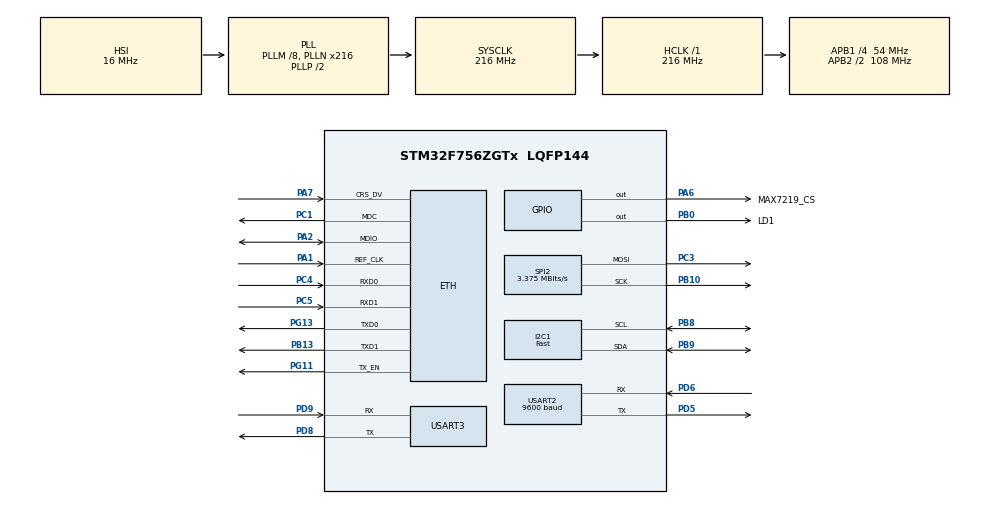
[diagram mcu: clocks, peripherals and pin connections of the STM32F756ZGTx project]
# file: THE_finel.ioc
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Dma.Request0=USART2_RX
Dma.USART2_RX.0.Direction=DMA_PERIPH_TO_MEMORY
Dma.USART2_RX.0.FIFOMode=DMA_FIFOMODE_DISABLE
Dma.USART2_RX.0.Instance=DMA1_Stream5
Dma.USART2_RX.0.MemDataAlignment=DMA_MDATAALIGN_BYTE
Dma.USART2_RX.0.MemInc=DMA_MINC_ENABLE
Dma.USART2_RX.0.Mode=DMA_CIRCULAR
Dma.USART2_RX.0.PeriphDataAlignment=DMA_PDATAALIGN_BYTE
Dma.USART2_RX.0.PeriphInc=DMA_PINC_DISABLE
Dma.USART2_RX.0.Priority=DMA_PRIORITY_LOW
ETH.MediaInterface=HAL_ETH_RMII_MODE
FREERTOS.Tasks01=defaultTask,0,256,StartDefaultTask,Default,NULL,Dynamic,NULL,NULL
FREERTOS.configGENERATE_RUN_TIME_STATS=1
FREERTOS.configUSE_NEWLIB_REENTRANT=1
FREERTOS.configUSE_TRACE_FACILITY=1
I2C1.I2C_Speed_Mode=I2C_Fast
I2C1.Timing=0x6000030D
LWIP.BSP.number=1
LWIP.GATEWAY_ADDRESS=172.020.010.001
LWIP.IP_ADDRESS=192.168.001.050
LWIP.LWIP_DHCP=0
LWIP.MEM_SIZE=10240
LWIP.NETMASK_ADDRESS=255.255.255.000
LWIP.PBUF_POOL_BUFSIZE=1524
LWIP.Version=v2.1.2_Cube
LWIP0.BSP.STBoard=false
LWIP0.BSP.api=BSP_COMPONENT_DRIVER
LWIP0.BSP.component=LAN8742
LWIP0.BSP.instance=LAN8742
LWIP0.BSP.name=Driver_PHY
LWIP0.BSP.semaphore=S_LAN8742
LWIP0.BSP.solution=LAN8742
Mcu.Family=STM32F7
Mcu.Name=STM32F756ZGTx
Mcu.Package=LQFP144
NVIC.DMA1_Stream5_IRQn=true\:5\:0\:false\:false\:true\:true\:false\:true\:true
NVIC.PriorityGroup=NVIC_PRIORITYGROUP_4
NVIC.TIM6_DAC_IRQn=true\:15\:0\:false\:false\:true\:false\:false\:true\:true
NVIC.TimeBase=TIM6_DAC_IRQn
NVIC.TimeBaseIP=TIM6
NVIC.USART2_IRQn=true\:5\:0\:false\:false\:true\:true\:true\:true\:true
PA1.Mode=RMII
PA1.Signal=ETH_REF_CLK
PA13.Mode=Serial_Wire
PA13.Signal=SYS_JTMS-SWDIO
PA14.Mode=Serial_Wire
PA14.Signal=SYS_JTCK-SWCLK
PA2.Mode=RMII
PA2.Signal=ETH_MDIO
PA6.GPIO_Label=MAX7219_CS
PA6.Signal=GPIO_Output
PA7.Mode=RMII
PA7.Signal=ETH_CRS_DV
PB0.GPIO_Label=LD1
PB0.Signal=GPIO_Output
PB10.Mode=TX_Only_Simplex_Unidirect_Master
PB10.Signal=SPI2_SCK
PB13.Mode=RMII
PB13.Signal=ETH_TXD1
PB8.Mode=I2C
PB8.Signal=I2C1_SCL
PB9.Mode=I2C
PB9.Signal=I2C1_SDA
PC1.Mode=RMII
PC1.Signal=ETH_MDC
PC3.Mode=TX_Only_Simplex_Unidirect_Master
PC3.Signal=SPI2_MOSI
PC4.Mode=RMII
PC4.Signal=ETH_RXD0
PC5.Mode=RMII
PC5.Signal=ETH_RXD1
PD5.Mode=Asynchronous
PD5.Signal=USART2_TX
PD6.Mode=Asynchronous
PD6.Signal=USART2_RX
PD8.Mode=Asynchronous
PD8.Signal=USART3_TX
PD9.Mode=Asynchronous
PD9.Signal=USART3_RX
PG11.Mode=RMII
PG11.Signal=ETH_TX_EN
PG13.Mode=RMII
PG13.Signal=ETH_TXD0
ProjectManager.HeapSize=0x200
ProjectManager.StackSize=0x400
ProjectManager.TargetToolchain=STM32CubeIDE
RCC.AHBFreq_Value=216000000
RCC.APB1CLKDivider=RCC_HCLK_DIV4
RCC.APB1Freq_Value=54000000
RCC.APB1TimFreq_Value=108000000
RCC.APB2CLKDivider=RCC_HCLK_DIV2
RCC.APB2Freq_Value=108000000
RCC.APB2TimFreq_Value=216000000
RCC.CortexFreq_Value=216000000
RCC.HCLKFreq_Value=216000000
RCC.HSE_VALUE=25000000
RCC.HSI_VALUE=16000000
RCC.LSE_VALUE=32768
RCC.PLLM=8
RCC.PLLN=216
RCC.SYSCLKFreq_VALUE=216000000
RCC.SYSCLKSource=RCC_SYSCLKSOURCE_PLLCLK
RCC.USBFreq_Value=216000000
RCC.VCOOutputFreq_Value=432000000
SPI2.BaudRatePrescaler=SPI_BAUDRATEPRESCALER_16
SPI2.CalculateBaudRate=3.375 MBits/s
SPI2.DataSize=SPI_DATASIZE_8BIT
SPI2.Direction=SPI_DIRECTION_2LINES
SPI2.Mode=SPI_MODE_MASTER
SPI2.VirtualType=VM_MASTER
USART2.BaudRate=9600
USART2.VirtualMode-Asynchronous=VM_ASYNC
USART3.VirtualMode-Asynchronous=VM_ASYNC
VP_FREERTOS_VS_CMSIS_V1.Mode=CMSIS_V1
VP_LWIP_VS_Enabled.Mode=Enabled
VP_SYS_VS_tim6.Mode=TIM6
board=custom

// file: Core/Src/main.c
/* USER CODE BEGIN Header */
/**
  ******************************************************************************
  * @file           : main.c
  * @brief          : Main program body
  ******************************************************************************
  */
/* USER CODE END Header */
#include "main.h"
#include "cmsis_os.h"
#include "dma.h"
#include "i2c.h"
#include "lwip.h"
#include "spi.h"
#include "usart.h"
#include "gpio.h"

/* USER CODE BEGIN Includes */
#include "IMU.h"
#include "GPS.h"
#include <stdio.h>
#include <string.h>
#include "ETH_Telemetry.h"
extern SPI_HandleTypeDef hspi2;
extern I2C_HandleTypeDef hi2c1;
extern UART_HandleTypeDef huart2;
extern UART_HandleTypeDef huart3;
extern DMA_HandleTypeDef hdma_usart2_rx;
/* USER CODE END Includes */

/* USER CODE BEGIN PV */
/* Old bare-metal GPS variables.
 * They are NOT used anymore (GPS now lives in gpsTask in freertos.c).
 * Kept only in case GPS.c refers to them with 'extern'.
 * If you delete them and the project still links - good, they are gone. */
uint8_t rx_byte[NMEA_BUF_SIZE + 1];
char nmea_work_buffer[NMEA_BUF_SIZE];
volatile uint8_t line_ready = 0;
/* USER CODE END PV */

void SystemClock_Config(void);
void MX_FREERTOS_Init(void);

/* USER CODE BEGIN 0 */

/* printf -> USART3 (ST-LINK virtual COM port) */
int _write(int file, char *ptr, int len)
{
    (void)file;
    HAL_UART_Transmit(&huart3, (uint8_t *)ptr, (uint16_t)len, HAL_MAX_DELAY);
    return len;
}

/* USER CODE END 0 */

int main(void)
{

  /* USER CODE BEGIN 1 */
  /* NOTHING here: UART is not initialized yet, printf here prints nowhere */
  /* USER CODE END 1 */

  /* MCU Configuration--------------------------------------------------------*/

  /* Reset of all peripherals, Initializes the Flash interface and the Systick. */
  HAL_Init();

  /* Configure the system clock */
  SystemClock_Config();

  /* Initialize all configured peripherals */
  MX_GPIO_Init();
  MX_DMA_Init();
  MX_I2C1_Init();
  MX_USART3_UART_Init();
  MX_SPI2_Init();
  MX_USART2_UART_Init();
  /* USER CODE BEGIN 2 */
  setvbuf(stdout, NULL, _IONBF, 0);          /* no buffering: every printf goes out at once */

  HAL_GPIO_WritePin(GPIOB, GPIO_PIN_0, GPIO_PIN_SET);   /* LD1 on = we reached here */
  printf("\r\n\r\n===== BOOT =====\r\n");

  /* Hardware init only - things that do NOT need the RTOS or lwIP */
  printf("[main] MPU6050_Init...\r\n");
  MPU6050_Init();

  printf("[main] MAX7219_Init...\r\n");
  MAX7219_Init();

  printf("[main] IMU_CalibrateZero...\r\n");
  IMU_CalibrateZero();

  /* REMOVED from here (they now run inside freertos.c):
   *  - ETH_Telemetry_Init()  -> needs lwIP, which starts only inside defaultTask
   *                             (MX_LWIP_Init). Calling it here = crash.
   *  - HAL_UARTEx_ReceiveToIdle_DMA(&huart2, ...) -> gpsTask starts the DMA itself.
   *    Starting it here makes the GPS ISR send to a queue that does not exist yet
   *    -> configASSERT -> the whole system freezes.                               */

  printf("[main] starting FreeRTOS...\r\n");
  /* USER CODE END 2 */

  /* Call init function for freertos objects (in cmsis_os2.c) */
  MX_FREERTOS_Init();

  /* Start scheduler */
  osKernelStart();

  /* We should never get here as control is now taken by the scheduler */

  /* Infinite loop */
  /* USER CODE BEGIN WHILE */
  while (1)
  {
    /* never reached - all the work is in the tasks in freertos.c */
  }
    /* USER CODE END WHILE */

}

void SystemClock_Config(void)
{
  RCC_OscInitTypeDef RCC_OscInitStruct = {0};
  RCC_ClkInitTypeDef RCC_ClkInitStruct = {0};

  /** Configure the main internal regulator output voltage
  */
  __HAL_RCC_PWR_CLK_ENABLE();
  __HAL_PWR_VOLTAGESCALING_CONFIG(PWR_REGULATOR_VOLTAGE_SCALE1);

  /** Initializes the RCC Oscillators according to the specified parameters
  * in the RCC_OscInitTypeDef structure.
  */
  RCC_OscInitStruct.OscillatorType = RCC_OSCILLATORTYPE_HSI;
  RCC_OscInitStruct.HSIState = RCC_HSI_ON;
  RCC_OscInitStruct.HSICalibrationValue = RCC_HSICALIBRATION_DEFAULT;
  RCC_OscInitStruct.PLL.PLLState = RCC_PLL_ON;
  RCC_OscInitStruct.PLL.PLLSource = RCC_PLLSOURCE_HSI;
  RCC_OscInitStruct.PLL.PLLM = 8;
  RCC_OscInitStruct.PLL.PLLN = 216;
  RCC_OscInitStruct.PLL.PLLP = RCC_PLLP_DIV2;
  RCC_OscInitStruct.PLL.PLLQ = 2;
  if (HAL_RCC_OscConfig(&RCC_OscInitStruct) != HAL_OK)
  {
    Error_Handler();
  }

  /** Activate the Over-Drive mode
  */
  if (HAL_PWREx_EnableOverDrive() != HAL_OK)
  {
    Error_Handler();
  }

  /** Initializes the CPU, AHB and APB buses clocks
  */
  RCC_ClkInitStruct.ClockType = RCC_CLOCKTYPE_HCLK|RCC_CLOCKTYPE_SYSCLK
                              |RCC_CLOCKTYPE_PCLK1|RCC_CLOCKTYPE_PCLK2;
  RCC_ClkInitStruct.SYSCLKSource = RCC_SYSCLKSOURCE_PLLCLK;
  RCC_ClkInitStruct.AHBCLKDivider = RCC_SYSCLK_DIV1;
  RCC_ClkInitStruct.APB1CLKDivider = RCC_HCLK_DIV4;
  RCC_ClkInitStruct.APB2CLKDivider = RCC_HCLK_DIV2;

  if (HAL_RCC_ClockConfig(&RCC_ClkInitStruct, FLASH_LATENCY_7) != HAL_OK)
  {
    Error_Handler();
  }
}

void HAL_TIM_PeriodElapsedCallback(TIM_HandleTypeDef *htim)
{
  if (htim->Instance == TIM6)
  {
    HAL_IncTick();
  }
}

void Error_Handler(void)
{
  /* USER CODE BEGIN Error_Handler_Debug */
  /* Tell us we got here (polling transmit works even with IRQs off) */
  printf("\r\n!!! Error_Handler !!!\r\n");
  __disable_irq();
  while (1)
  {
    /* LD1 blinks fast = we are stuck in Error_Handler */
    HAL_GPIO_TogglePin(GPIOB, GPIO_PIN_0);
    for (volatile uint32_t i = 0; i < 2000000; i++) { }
  }
  /* USER CODE END Error_Handler_Debug */
}
#ifdef USE_FULL_ASSERT
/**
  * @brief  Reports the name of the source file and the source line number
  *         where the assert_param error has occurred.
  * @param  file: pointer to the source file name
  * @param  line: assert_param error line source number
  * @retval None
  */
void assert_failed(uint8_t *file, uint32_t line)
{
  /* USER CODE BEGIN 6 */
  printf("assert_failed: %s line %lu\r\n", (char *)file, (unsigned long)line);
  /* USER CODE END 6 */
}
#endif /* USE_FULL_ASSERT */

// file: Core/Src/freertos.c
/* USER CODE BEGIN Header */
/**
  ******************************************************************************
  * File Name          : freertos.c
  * Description        : Code for freertos applications
  ******************************************************************************
  * @attention
  *
  * Copyright (c) 2026 STMicroelectronics.
  * All rights reserved.
  *
  * This software is licensed under terms that can be found in the LICENSE file
  * in the root directory of this software component.
  * If no LICENSE file comes with this software, it is provided AS-IS.
  *
  ******************************************************************************
  *
  *  Uses modules:
  *    IMU.c           MPU6050_Read_All(), imu_data, imu_zero,
  *                    MAX7219_DrawPattern(), ARROW_N/NE/.../SMILEY_FACE
  *    GPS.c           Parse_GPS_Sentence(), g_gps_data
  *    ETH_Telemetry.c ETH_Telemetry_Init(), ETH_Telemetry_Send(), ETH_Retry_Task()
  *
  *  Tasks (each hardware bus has exactly ONE owner):
  *
  *   imuTask    (10 ms)  owns I2C1: MPU6050_Read_All -> tilt from HOME -> [imu_mailbox]
  *   matrixTask (50 ms)  owns SPI2: [imu_mailbox] -> arrow -> MAX7219_DrawPattern
  *   gpsTask             USART2 DMA ISR -> [gps_chunk_queue] -> Parse_GPS_Sentence -> [gps_mailbox]
  *   defaultTask         lwIP; telemetry send (1 s) + retry (200 ms) run in the lwIP thread
  *   ethRxTask           [eth_rx_queue] -> prints every received UDP packet (hex + bits)
  *
  *  Other code that wants the I2C or the matrix (e.g. ETH commands) does NOT touch
  *  the hardware - it sends a request: App_RequestImuZero(), App_ShowPattern().
  *
  ******************************************************************************
  */
/* USER CODE END Header */

#include "FreeRTOS.h"
#include "task.h"
#include "main.h"
#include "cmsis_os.h"

/* USER CODE BEGIN Includes */
#include <stdio.h>
#include <stdarg.h>
#include <string.h>
#include <math.h>
#include "queue.h"
#include "semphr.h"
#include "usart.h"
#include "i2c.h"
#include "lwip/tcpip.h"
#include "lwip/netif.h"
#include "lwip/ip_addr.h"
#include "IMU.h"
#include "GPS.h"
#include "ETH_Telemetry.h"
/* USER CODE END Includes */

/* USER CODE BEGIN PTD */

/* ================= settings you may want to change ================= */

/* Arrow: shown when the device is tilted this much from HOME */
#define IMU_ARROW_DEG          5.0f   /* tilt >= 5 deg -> arrow */
#define IMU_HOME_DEG           4.0f   /* back under 4 deg -> smiley (1 deg hysteresis) */
#define IMU_FILTER             0.25f  /* low-pass: 0.25 = smooth, 1.0 = no filter */
#define IMU_HOME_SAMPLES       50U    /* 50 samples averaged when saving HOME */
#define IMU_SETTLE_MS          300U   /* wait before saving HOME (hands off) */

/* If the arrow points the wrong way, flip these (0/1) */
#define IMU_SWAP_XY            0
#define IMU_INVERT_X           0
#define IMU_INVERT_Y           0

/* periods */
#define IMU_PERIOD_MS          10U //Period sample
#define MATRIX_PERIOD_MS       50U // Period sample for fluent switch
#define NET_PERIOD_MS          200U   /* ETH_Retry_Task */
#define TELEMETRY_PERIOD_MS    1000U  /* ETH_Telemetry_Send */
#define IMU_PRINT_MS           500U
#define GPS_SILENCE_MS         3000U // SILENCE GPS to not fill the terminal
#define GPS_PRINT_RAW_NMEA     0      /* 1 = print every raw NMEA line */
#define PATTERN_OVERRIDE_MS    3000U  /* ETH command 3 shows its pattern this long */

/* Ethernet RX printing */
#define ETH_RX_MAX_BYTES       64U // max byte of the packet
#define ETH_RX_PRINT_MAX       32U// number of packet that is printed

/* GPS */
#define GPS_DMA_BUF_SIZE       128U   // multiple of 32
#define GPS_CHUNK_QUEUE_LEN    4U // if TASK GPS is busy  there is 4 parts waiting
#define NMEA_LINE_MAX          96U // NMEA length

/* Nucleo-144 LEDs */
#define LED_MATRIX_PIN         GPIO_PIN_0    /* green: matrixTask alive */
#define LED_IMU_PIN            GPIO_PIN_7    /* blue:  imuTask alive    */
#define LED_ERROR_PIN          GPIO_PIN_14   /* red:   I2C error        */

#define RAD2DEG                57.29577951f
#define DEG2RAD                0.01745329f

/* ================= data passed between tasks ================= */

typedef struct {
  float    ax, ay, az;      /* accel in g (from imu_data) */
  float    gx, gy, gz;      /* gyro in deg/s */
  float    du, dv;          /* distance from HOME on the two tilt axes (g) */
  uint8_t  axis_u, axis_v;  /* which axes (0=X 1=Y 2=Z) */
  uint8_t  ok;              /* 0 = I2C error */
  uint8_t  has_home;
  uint32_t tick;
} ImuSample_t;

typedef struct {
  uint16_t len;
  uint8_t  data[GPS_DMA_BUF_SIZE];
} GpsChunk_t;

typedef struct {
  uint32_t ip;
  uint16_t port;
  uint16_t len;
  uint16_t total_len;
  uint8_t  data[ETH_RX_MAX_BYTES];
} EthRxMsg_t;

typedef enum {
  DIR_HOME = 0,
  DIR_N, DIR_S, DIR_E, DIR_W,
  DIR_NE, DIR_NW, DIR_SE, DIR_SW,
  DIR_WAIT,
  DIR_ERROR,
  DIR_COUNT
} ArrowDir_t;

/* USER CODE END PTD */

/* USER CODE BEGIN Variables */

/* from modules (declared here too, in case the headers don't export them) */
extern MPU6050_t      imu_data;
extern IMU_ZeroState  imu_zero;
extern GPS_GGA_Data   g_gps_data;
extern const uint8_t  SMILEY_FACE[8];
extern const uint8_t  ARROW_N[8], ARROW_S[8], ARROW_E[8], ARROW_W[8];
extern const uint8_t  ARROW_NE[8], ARROW_NW[8], ARROW_SE[8], ARROW_SW[8];

extern struct netif gnetif;              /* lwip.c */

static QueueHandle_t     imu_mailbox;     /* length 1: latest IMU sample   */
static QueueHandle_t     gps_mailbox;     /* length 1: latest GPS_GGA_Data */
static QueueHandle_t     gps_chunk_queue; /* raw bytes from the UART ISR   */
static QueueHandle_t     eth_rx_queue;    /* UDP packets -> ethRxTask      */
static SemaphoreHandle_t print_mutex;

static uint8_t gps_dma_buf[GPS_DMA_BUF_SIZE] __attribute__((aligned(32)));

static volatile ArrowDir_t current_dir     = DIR_WAIT; // can change during running state
static volatile uint8_t    imu_zero_req    = 0;     /* set by App_RequestImuZero() */
static volatile int16_t    override_id     = -1;    /* set by App_ShowPattern()   */
static volatile TickType_t override_until  = 0;
static volatile uint32_t   eth_rx_count    = 0;
static volatile uint32_t   gps_lines       = 0;

/* extra pictures (not in IMU.c) */
static const uint8_t PIC_WAIT[8]  = {0x00, 0x00, 0x00, 0x18, 0x18, 0x00, 0x00, 0x00};
static const uint8_t PIC_ERROR[8] = {0x81, 0x42, 0x24, 0x18, 0x18, 0x24, 0x42, 0x81};

static const uint8_t *pics[DIR_COUNT];   /* filled in StartMatrixTask */

static const char *const DIR_NAME[DIR_COUNT] = {
  "HOME", "N", "S", "E", "W", "NE", "NW", "SE", "SW", "WAIT", "I2C-ERR"
};
// create threads
osThreadId gpsTaskHandle;
osThreadId imuTaskHandle;
osThreadId matrixTaskHandle;
osThreadId ethRxTaskHandle;

/* USER CODE END Variables */
osThreadId defaultTaskHandle;

/* USER CODE BEGIN FunctionPrototypes */

void StartGpsTask(void const * argument);
void StartImuTask(void const * argument);
void StartMatrixTask(void const * argument);
void StartEthRxTask(void const * argument);

void MPU6050_Read_All(void);
void MAX7219_DrawPattern(const uint8_t pattern[8]);
void Parse_GPS_Sentence(char *sentence);

/* public helpers - used by ETH_Telemetry.c */
void App_Log(const char *fmt, ...);
void App_EthRxPrint(const uint8_t *data, uint16_t len, const ip_addr_t *addr, u16_t port);
void App_RequestImuZero(void);
void App_ShowPattern(uint8_t pattern_id);

static void log_lock(void);
static void log_unlock(void);
static void log_raw(const char *fmt, ...);
static const char *f2s(char *buf, size_t n, double v, uint8_t decimals);
static void ip_to_str(uint32_t ip, char *out, size_t size);

static void gps_start_dma(void);
static void gps_print(const GPS_GGA_Data *g);

static uint8_t imu_read(float a[3]);
static uint8_t imu_save_home(void);
static void imu_pick_axes(uint8_t *u, uint8_t *v);
static uint8_t button_pressed(void);
static void leds_init(void);
static ArrowDir_t imu_to_dir(const ImuSample_t *s, ArrowDir_t prev);

static void eth_init_cb(void *ctx);
static void eth_send_cb(void *ctx);
static void eth_retry_cb(void *ctx);

/* USER CODE END FunctionPrototypes */

void StartDefaultTask(void const * argument);

extern void MX_LWIP_Init(void);
void MX_FREERTOS_Init(void); /* (MISRA C 2004 rule 8.1) */

/* GetIdleTaskMemory prototype (linked to static allocation support) */
void vApplicationGetIdleTaskMemory( StaticTask_t **ppxIdleTaskTCBBuffer, StackType_t **ppxIdleTaskStackBuffer, uint32_t *pulIdleTaskStackSize );

/* Hook prototypes */
void configureTimerForRunTimeStats(void);
unsigned long getRunTimeCounterValue(void);

/* USER CODE BEGIN 1 */
/* Functions needed when configGENERATE_RUN_TIME_STATS is on */
__weak void configureTimerForRunTimeStats(void)
{

}

__weak unsigned long getRunTimeCounterValue(void)
{
return 0;
}
/* USER CODE END 1 */

/* USER CODE BEGIN GET_IDLE_TASK_MEMORY */
static StaticTask_t xIdleTaskTCBBuffer;
static StackType_t xIdleStack[configMINIMAL_STACK_SIZE];

void vApplicationGetIdleTaskMemory( StaticTask_t **ppxIdleTaskTCBBuffer, StackType_t **ppxIdleTaskStackBuffer, uint32_t *pulIdleTaskStackSize )
{
  *ppxIdleTaskTCBBuffer = &xIdleTaskTCBBuffer;
  *ppxIdleTaskStackBuffer = &xIdleStack[0];
  *pulIdleTaskStackSize = configMINIMAL_STACK_SIZE;
  /* place for user code */
}
/* USER CODE END GET_IDLE_TASK_MEMORY */

void MX_FREERTOS_Init(void) {

  /* USER CODE BEGIN RTOS_MUTEX */
  print_mutex = xSemaphoreCreateMutex();
  configASSERT(print_mutex != NULL);
  /* USER CODE END RTOS_MUTEX */

  /* USER CODE BEGIN RTOS_QUEUES */
  imu_mailbox     = xQueueCreate(1, sizeof(ImuSample_t));
  gps_mailbox     = xQueueCreate(1, sizeof(GPS_GGA_Data));
  gps_chunk_queue = xQueueCreate(GPS_CHUNK_QUEUE_LEN, sizeof(GpsChunk_t));
  eth_rx_queue    = xQueueCreate(4, sizeof(EthRxMsg_t));
  configASSERT(imu_mailbox != NULL);
  configASSERT(gps_mailbox != NULL);
  configASSERT(gps_chunk_queue != NULL);
  configASSERT(eth_rx_queue != NULL);
  /* USER CODE END RTOS_QUEUES */

  /* Create the thread(s) */
  /* definition and creation of defaultTask */
  osThreadDef(defaultTask, StartDefaultTask, osPriorityNormal, 0, 256);
  defaultTaskHandle = osThreadCreate(osThread(defaultTask), NULL);

  /* USER CODE BEGIN RTOS_THREADS */
  osThreadDef(gpsTask, StartGpsTask, osPriorityHigh, 0, 768);
  gpsTaskHandle = osThreadCreate(osThread(gpsTask), NULL);

  osThreadDef(imuTask, StartImuTask, osPriorityAboveNormal, 0, 512);
  imuTaskHandle = osThreadCreate(osThread(imuTask), NULL);

  osThreadDef(matrixTask, StartMatrixTask, osPriorityAboveNormal, 0, 512);
  matrixTaskHandle = osThreadCreate(osThread(matrixTask), NULL);

  osThreadDef(ethRxTask, StartEthRxTask, osPriorityBelowNormal, 0, 512);
  ethRxTaskHandle = osThreadCreate(osThread(ethRxTask), NULL);

  printf("[RTOS] tasks: default=%s gps=%s imu=%s matrix=%s ethRx=%s, heap left %u\r\n",
         defaultTaskHandle ? "ok" : "FAIL",
         gpsTaskHandle     ? "ok" : "FAIL",
         imuTaskHandle     ? "ok" : "FAIL",
         matrixTaskHandle  ? "ok" : "FAIL",
         ethRxTaskHandle   ? "ok" : "FAIL",
         (unsigned)xPortGetFreeHeapSize());
  /* USER CODE END RTOS_THREADS */

}

/* USER CODE BEGIN Header_StartDefaultTask */
/**
  * @brief  Network: lwIP init, ETH_Telemetry module, status.
  * @param  argument: Not used
  * @retval None
  */
/* USER CODE END Header_StartDefaultTask */
void StartDefaultTask(void const * argument)
{
  /* init code for LWIP */
  MX_LWIP_Init();
  /* USER CODE BEGIN StartDefaultTask */
  (void)argument;

  /* ETH_Telemetry_Init() uses the lwIP raw API -> run it inside the lwIP thread */
  tcpip_callback(eth_init_cb, NULL);
  App_Log("[NET] lwIP up, ETH_Telemetry listening on UDP port 5000\r\n");

  uint8_t    ip_printed = 0;
  uint32_t   loops = 0;
  TickType_t last_wake = xTaskGetTickCount();

  for(;;)
  {
    uint32_t my_ip = ip4_addr_get_u32(netif_ip4_addr(&gnetif));
    if (!ip_printed && netif_is_link_up(&gnetif) && my_ip != 0U)
    {
      char ip_str[16];
      ip_to_str(my_ip, ip_str, sizeof ip_str);
      App_Log("[NET] cable connected, board IP = %s\r\n", ip_str);
      ip_printed = 1;
    }

    tcpip_callback(eth_retry_cb, NULL);                 /* ETH_Retry_Task every 200 ms */

    if (++loops >= TELEMETRY_PERIOD_MS / NET_PERIOD_MS)
    {
      loops = 0;
      tcpip_callback(eth_send_cb, NULL);                /* ETH_Telemetry_Send every 1 s */
    }

    vTaskDelayUntil(&last_wake, pdMS_TO_TICKS(NET_PERIOD_MS));
  }
  /* USER CODE END StartDefaultTask */
}

/* USER CODE BEGIN Application */

/* =========================================================================
 *  PRINTING (thread safe) - App_Log can be used from any task, also ETH_Telemetry.c
 * ========================================================================= */

static void log_lock(void)// lock terminal so that one task can print
{
  if (xTaskGetSchedulerState() == taskSCHEDULER_RUNNING)
    xSemaphoreTake(print_mutex, portMAX_DELAY);
}

static void log_unlock(void)// unlock terminal
{
  if (xTaskGetSchedulerState() == taskSCHEDULER_RUNNING)
    xSemaphoreGive(print_mutex);
}

static void log_vraw(const char *fmt, va_list ap)// build text and transmit
{
  char buf[256];
  int n = vsnprintf(buf, sizeof buf, fmt, ap);
  if (n <= 0) return;
  if (n > (int)sizeof buf - 1) n = (int)sizeof buf - 1;
  HAL_UART_Transmit(&huart3, (uint8_t *)buf, (uint16_t)n, HAL_MAX_DELAY);
}

static void log_raw(const char *fmt, ...) //a changeable argument number
{
  va_list ap;
  va_start(ap, fmt);
  log_vraw(fmt, ap);
  va_end(ap);
}

void App_Log(const char *fmt, ...)
{
  va_list ap;
  log_lock();
  va_start(ap, fmt);
  log_vraw(fmt, ap);
  va_end(ap);
  log_unlock();
}

// float to text
static const char *f2s(char *buf, size_t n, double v, uint8_t decimals)
{
  static const int32_t P[] = {1, 10, 100, 1000, 10000, 100000, 1000000};
  if (decimals > 6U) decimals = 6U;
  int neg = (v < 0.0);
  if (neg) v = -v;
  int32_t ip = (int32_t)v;
  int32_t fp = (int32_t)((v - (double)ip) * P[decimals] + 0.5);
  if (fp >= P[decimals]) { ip++; fp -= P[decimals]; }
  if (decimals > 0U)
    snprintf(buf, n, "%s%ld.%0*ld", neg ? "-" : "", (long)ip, (int)decimals, (long)fp);
  else
    snprintf(buf, n, "%s%ld", neg ? "-" : "", (long)ip);
  return buf;
}

static void ip_to_str(uint32_t ip, char *out, size_t size)
{
  snprintf(out, size, "%u.%u.%u.%u",
           (unsigned)(ip & 0xFFU), (unsigned)((ip >> 8) & 0xFFU),
           (unsigned)((ip >> 16) & 0xFFU), (unsigned)((ip >> 24) & 0xFFU));
}

/* =========================================================================
 *  REQUESTS from other modules (ETH commands) - they never touch I2C/SPI directly
 * ========================================================================= */
// One task accesses the I2C, rather than two simultaneously.
void App_RequestImuZero(void)            /* ETH command 1 */
{
  imu_zero_req = 1;
}

void App_ShowPattern(uint8_t pattern_id) /* ETH command 3: 0 = smiley, 1..8 = arrows */
{
  override_id    = (int16_t)pattern_id;
  override_until = xTaskGetTickCount() + pdMS_TO_TICKS(PATTERN_OVERRIDE_MS);
}

/* =========================================================================
 *  ETHERNET
 * ========================================================================= */

/* called from udp_receive_callback in ETH_Telemetry.c (lwIP thread):
 * copy the packet to the queue, ethRxTask prints it */
//print packet
void App_EthRxPrint(const uint8_t *data, uint16_t len, const ip_addr_t *addr, u16_t port)
{
  EthRxMsg_t msg;
  msg.ip        = ip4_addr_get_u32(ip_2_ip4(addr));
  msg.port      = port;
  msg.total_len = len;
  msg.len       = (len < ETH_RX_MAX_BYTES) ? len : (uint16_t)ETH_RX_MAX_BYTES;
  memcpy(msg.data, data, msg.len);
  xQueueSend(eth_rx_queue, &msg, 0);              /* full -> drop, never block lwIP */
}

/* these 3 run inside the lwIP thread (tcpip_callback) -> raw API is safe */
static void eth_init_cb(void *ctx)  { (void)ctx; ETH_Telemetry_Init(); }
static void eth_retry_cb(void *ctx) { (void)ctx; ETH_Retry_Task(); }
static void eth_send_cb(void *ctx)
{
  (void)ctx;
  GPS_GGA_Data gps;
  memset(&gps, 0, sizeof gps);
  xQueuePeek(gps_mailbox, &gps, 0);  //Receive data and not letting it out
  ETH_Telemetry_Send(&gps);
}
//Eth task
void StartEthRxTask(void const * argument)
{
  (void)argument;
  EthRxMsg_t msg;
  char ip_str[16];

  for(;;)// Receive data from the cp to mcu
  {
    xQueueReceive(eth_rx_queue, &msg, portMAX_DELAY);
    eth_rx_count++;
    ip_to_str(msg.ip, ip_str, sizeof ip_str);

    log_lock();
    log_raw("\r\n[ETH RX #%lu] from %s:%u, %u bytes\r\n",
            (unsigned long)eth_rx_count, ip_str, msg.port, msg.total_len);
    log_raw("  idx  hex   bits      char\r\n");

    uint16_t n = (msg.len < ETH_RX_PRINT_MAX) ? msg.len : (uint16_t)ETH_RX_PRINT_MAX;
    for (uint16_t i = 0; i < n; i++)
    {
      uint8_t b = msg.data[i];
      char bits[9];
      for (int k = 0; k < 8; k++)
        bits[k] = (b & (0x80U >> k)) ? '1' : '0';
      bits[8] = '\0';
      char ch = (b >= 0x20U && b < 0x7FU) ? (char)b : '.';
      log_raw("  [%2u] 0x%02X  %s  %c\r\n", i, b, bits, ch);
    }
    if (msg.total_len > n)
      log_raw("  ... (%u more bytes)\r\n", (unsigned)(msg.total_len - n));
    log_unlock();
  }
}

/* =========================================================================
 *  GPS: USART2 DMA -> gpsTask -> Parse_GPS_Sentence() (GPS.c)
 * ========================================================================= */

static void gps_start_dma(void)// receive gps data
{
  HAL_UARTEx_ReceiveToIdle_DMA(&huart2, gps_dma_buf, GPS_DMA_BUF_SIZE);
  __HAL_DMA_DISABLE_IT(huart2.hdmarx, DMA_IT_HT);
}

void HAL_UARTEx_RxEventCallback(UART_HandleTypeDef *huart, uint16_t Size)
{
  if (huart->Instance != USART2)
  {
    return;
  }

  BaseType_t woken = pdFALSE;
  GpsChunk_t chunk;

#if defined(__DCACHE_PRESENT) && (__DCACHE_PRESENT == 1U)
  if (SCB->CCR & SCB_CCR_DC_Msk)
  {
    SCB_InvalidateDCache_by_Addr((uint32_t *)gps_dma_buf, (int32_t)GPS_DMA_BUF_SIZE);
  }
#endif

  if (Size > GPS_DMA_BUF_SIZE)
  {
    Size = GPS_DMA_BUF_SIZE;
  }
  chunk.len = Size;
  memcpy(chunk.data, gps_dma_buf, Size); // copy data

  gps_start_dma();

  xQueueSendFromISR(gps_chunk_queue, &chunk, &woken);// send to queue with non blocking mood
  portYIELD_FROM_ISR(woken);
}

void HAL_UART_ErrorCallback(UART_HandleTypeDef *huart)
{
  if (huart->Instance == USART2)
  {
    gps_start_dma();
  }
}

static void gps_print(const GPS_GGA_Data *g)
{
  char la[16], lo[16], al[16], hd[16];
  uint32_t utc = (uint32_t)g->utc_time;           /* hhmmss */

  if (g->fix_quality == 0)
  {
    App_Log("[GPS] %02lu:%02lu:%02lu  NO FIX yet, satellites=%u (go near a window / outside)\r\n",
            (unsigned long)(utc / 10000U), (unsigned long)((utc / 100U) % 100U),
            (unsigned long)(utc % 100U), (unsigned)g->num_satellites);
    return;
  }
  App_Log("[GPS] %02lu:%02lu:%02lu  lat=%s lon=%s  alt=%sm  fix=%u sats=%u hdop=%s\r\n",
          (unsigned long)(utc / 10000U), (unsigned long)((utc / 100U) % 100U),
          (unsigned long)(utc % 100U),
          f2s(la, sizeof la, (double)g->latitude, 6),
          f2s(lo, sizeof lo, (double)g->longitude, 6),
          f2s(al, sizeof al, (double)g->altitude, 1),
          (unsigned)g->fix_quality, (unsigned)g->num_satellites,
          f2s(hd, sizeof hd, (double)g->hdop, 1));
}
// GPS task
void StartGpsTask(void const * argument)
{
  (void)argument;

  GpsChunk_t chunk;
  char       line[NMEA_LINE_MAX];
  uint16_t   line_len = 0;

  gps_start_dma();
  App_Log("[GPS] listening on USART2 (PD6 = RX)\r\n");

  for(;;)
  {
    if (xQueueReceive(gps_chunk_queue, &chunk, pdMS_TO_TICKS(GPS_SILENCE_MS)) != pdTRUE) // receive data and print
    {
      App_Log("[GPS] no data for %u s - check GPS TX -> PD6, GND, power, baud rate\r\n",
              (unsigned)(GPS_SILENCE_MS / 1000U));
      continue;
    }

    for (uint16_t i = 0; i < chunk.len; i++)
    {
      char c = (char)chunk.data[i];

      if (c == '$')
      {
        line_len = 0;
      }

      if (c == '\r' || c == '\n')
      {
        if (line_len > 0)
        {
          line[line_len] = '\0';
          gps_lines++;
#if GPS_PRINT_RAW_NMEA
          App_Log("[NMEA] %s\r\n", line);
#endif
          uint8_t is_gga = (line_len >= 6U) && (strncmp(&line[3], "GGA", 3) == 0);

          Parse_GPS_Sentence(line);        /* parser (it changes 'line' - fine) */

          if (is_gga)
          {
            /* g_gps_data is written only by this task -> safe to copy here */
            GPS_GGA_Data copy = g_gps_data;
            xQueueOverwrite(gps_mailbox, &copy);// write to mailbox for other tasks
            gps_print(&copy);              /* GGA comes once a second */
          }
          line_len = 0;
        }
      }
      else if (line_len < (NMEA_LINE_MAX - 1U))
      {
        line[line_len++] = c;
      }
      else
      {
        line_len = 0;
      }
    }
  }
}

/* =========================================================================
 *  IMU: MPU6050_Read_All() (IMU.c), HOME = imu_zero (struct)
 *
 *  Gravity always points down. Tilting the device moves gravity between the
 *  sensor axes. HOME = gravity vector at the start (imu_zero, the same thing
 *  IMU_CalibrateZero() measures). The difference on the two horizontal axes
 *  = how far and which way the device is tilted.
 * ========================================================================= */

/* one reading through function. Returns 1 if the I2C read worked */
static uint8_t imu_read(float a[3])
{
  MPU6050_Read_All();
  if (HAL_I2C_GetError(&hi2c1) != HAL_I2C_ERROR_NONE)
  {
    return 0;
  }
  a[0] = imu_data.accel_x;
  a[1] = imu_data.accel_y;
  a[2] = imu_data.accel_z;
  return 1;
}

/* same as IMU_CalibrateZero(), but with vTaskDelay instead of HAL_Delay
 * (HAL_Delay would keep the CPU busy and block the other tasks for 0.5 s) */
static uint8_t imu_save_home(void)
{
  float sum[3] = {0, 0, 0};
  uint32_t good = 0;

  vTaskDelay(pdMS_TO_TICKS(IMU_SETTLE_MS));
  for (uint32_t i = 0; i < IMU_HOME_SAMPLES; i++)
  {
    float a[3];
    if (imu_read(a))
    {
      sum[0] += a[0]; sum[1] += a[1]; sum[2] += a[2];
      good++;
    }
    vTaskDelay(pdMS_TO_TICKS(IMU_PERIOD_MS));
  }
  if (good < IMU_HOME_SAMPLES / 2U) return 0;

  imu_zero.ax_offset = sum[0] / (float)good;
  imu_zero.ay_offset = sum[1] / (float)good;
  imu_zero.az_offset = sum[2] / (float)good;
  return 1;
}

/* vertical axis = the one with most gravity; the other two are the tilt axes */
static void imu_pick_axes(uint8_t *u, uint8_t *v)
{
  float a0 = fabsf(imu_zero.ax_offset);
  float a1 = fabsf(imu_zero.ay_offset);
  float a2 = fabsf(imu_zero.az_offset);
  if (a2 >= a0 && a2 >= a1)      { *u = 0; *v = 1; }  /* Z vertical: lying flat   */
  else if (a1 >= a0 && a1 >= a2) { *u = 0; *v = 2; }  /* Y vertical: standing     */
  else                           { *u = 1; *v = 2; }  /* X vertical: on its side  */
}

static uint8_t button_pressed(void)   //new home
{
  static uint8_t last = 0;
  uint8_t now = (HAL_GPIO_ReadPin(GPIOC, GPIO_PIN_13) == GPIO_PIN_SET) ? 1U : 0U;
  uint8_t pressed = (now && !last) ? 1U : 0U;
  last = now;
  return pressed;
}

static void leds_init(void) // configure 3 leds & 1 button
{
  __HAL_RCC_GPIOB_CLK_ENABLE();
  __HAL_RCC_GPIOC_CLK_ENABLE();
  GPIO_InitTypeDef gi = {0};
  gi.Pin   = LED_MATRIX_PIN | LED_IMU_PIN | LED_ERROR_PIN;
  gi.Mode  = GPIO_MODE_OUTPUT_PP;
  gi.Pull  = GPIO_NOPULL;
  gi.Speed = GPIO_SPEED_FREQ_LOW;
  HAL_GPIO_Init(GPIOB, &gi);

  gi.Pin  = GPIO_PIN_13;                 /* B1 button */
  gi.Mode = GPIO_MODE_INPUT;
  gi.Pull = GPIO_PULLDOWN;
  HAL_GPIO_Init(GPIOC, &gi);
}
// imu task
void StartImuTask(void const * argument)
{
  (void)argument;
  leds_init();

  ImuSample_t s;
  memset(&s, 0, sizeof s);
  float    filt[3] = {0, 0, 0};
  uint8_t  u = 0, v = 1;
  uint32_t print_cnt = 0, err_run = 0, err_count = 0;

  /* main.c already ran IMU_CalibrateZero() -> use it as HOME if it looks valid */
  float g = fabsf(imu_zero.ax_offset) + fabsf(imu_zero.ay_offset) + fabsf(imu_zero.az_offset);// calculate degrees
  uint8_t need_home = (g < 0.5f) ? 1U : 0U;     /* ~0 = calibration failed */
  if (!need_home)// display arrow
  {
    imu_pick_axes(&u, &v);
    filt[0] = imu_zero.ax_offset; filt[1] = imu_zero.ay_offset; filt[2] = imu_zero.az_offset;
    s.has_home = 1;
    App_Log("[IMU] HOME from IMU_CalibrateZero, tilt axes %c,%c\r\n", "XYZ"[u], "XYZ"[v]);
  }

  TickType_t last_wake = xTaskGetTickCount();

  for(;;)
  {
    /* ---------- save HOME: missing, B1 button, or ETH command 1 ---------- */
    if (need_home || button_pressed() || imu_zero_req)
    {
      imu_zero_req = 0;
      s.has_home = 0;
      s.ok = 1;
      xQueueOverwrite(imu_mailbox, &s);           /* matrix shows "wait" */
      App_Log("[IMU] saving HOME - don't move the device...\r\n");

      if (imu_save_home())
      {
        imu_pick_axes(&u, &v);
        filt[0] = imu_zero.ax_offset; filt[1] = imu_zero.ay_offset; filt[2] = imu_zero.az_offset;
        s.has_home = 1;
        need_home  = 0;
        char x[12], y[12], z[12];
        App_Log("[IMU] HOME saved: x=%sg y=%sg z=%sg, tilt axes %c,%c\r\n",
                f2s(x, sizeof x, imu_zero.ax_offset, 3),
                f2s(y, sizeof y, imu_zero.ay_offset, 3),
                f2s(z, sizeof z, imu_zero.az_offset, 3), "XYZ"[u], "XYZ"[v]);
      }
      else
      {
        s.ok = 0;
        xQueueOverwrite(imu_mailbox, &s);
        App_Log("[IMU] HOME FAILED - no data from MPU6050, retry in 1 s\r\n");
        vTaskDelay(pdMS_TO_TICKS(1000));
        need_home = 1;
      }
      last_wake = xTaskGetTickCount();
      continue;
    }

    /* ---------- normal reading ---------- */
    float a[3];
    if (imu_read(a))
    {
      const float home[3] = {imu_zero.ax_offset, imu_zero.ay_offset, imu_zero.az_offset};
      for (int k = 0; k < 3; k++)
        filt[k] += (a[k] - filt[k]) * IMU_FILTER;

      s.ax = a[0]; s.ay = a[1]; s.az = a[2];
      s.gx = imu_data.gyro_x; s.gy = imu_data.gyro_y; s.gz = imu_data.gyro_z;
      s.du = filt[u] - home[u];
      s.dv = filt[v] - home[v];
      s.axis_u = u; s.axis_v = v;
      s.ok = 1;
      err_run = 0;
    }
    else
    {
      s.ok = 0;
      err_count++;
      if (++err_run >= 20U)                       /* 0.2 s of errors: reset I2C1 */
      {
        err_run = 0;
        App_Log("[IMU] I2C stuck (error=0x%02lX) -> resetting I2C1\r\n",
                (unsigned long)HAL_I2C_GetError(&hi2c1));
        HAL_I2C_DeInit(&hi2c1);
        MX_I2C1_Init();
        MPU6050_Init();                           /*init: wake + config */
      }
    }
    s.tick = xTaskGetTickCount();
    xQueueOverwrite(imu_mailbox, &s);
    HAL_GPIO_WritePin(GPIOB, LED_ERROR_PIN, s.ok ? GPIO_PIN_RESET : GPIO_PIN_SET);

    /* ---------- print every 0.5 s ---------- */
    if (++print_cnt >= IMU_PRINT_MS / IMU_PERIOD_MS)
    {
      print_cnt = 0;
      HAL_GPIO_TogglePin(GPIOB, LED_IMU_PIN);
      if (s.ok)
      {
        char b[8][12];
        float du = s.du > 1.0f ? 1.0f : (s.du < -1.0f ? -1.0f : s.du);
        float dv = s.dv > 1.0f ? 1.0f : (s.dv < -1.0f ? -1.0f : s.dv);
        App_Log("[IMU] acc x=%s y=%s z=%s g | gyro x=%s y=%s z=%s dps | tilt %c=%s %c=%s deg | %s\r\n",
                f2s(b[0], 12, s.ax, 2), f2s(b[1], 12, s.ay, 2), f2s(b[2], 12, s.az, 2),
                f2s(b[3], 12, s.gx, 1), f2s(b[4], 12, s.gy, 1), f2s(b[5], 12, s.gz, 1),
                "XYZ"[u], f2s(b[6], 12, asinf(du) * RAD2DEG, 1),
                "XYZ"[v], f2s(b[7], 12, asinf(dv) * RAD2DEG, 1),
                DIR_NAME[current_dir]);
      }
      else
      {
        App_Log("[IMU] I2C read ERROR x%lu (error=0x%02lX)\r\n",
                (unsigned long)err_count, (unsigned long)HAL_I2C_GetError(&hi2c1));
      }
    }

    vTaskDelayUntil(&last_wake, pdMS_TO_TICKS(IMU_PERIOD_MS));
  }
}

/* tilt from HOME -> arrow pointing the way BACK to HOME */
static ArrowDir_t imu_to_dir(const ImuSample_t *s, ArrowDir_t prev)
{
  static float th_arrow = 0.0f, th_home = 0.0f;
  if (th_arrow == 0.0f)
  {
    th_arrow = sinf(IMU_ARROW_DEG * DEG2RAD);    /* 5 deg = 0.087 g */
    th_home  = sinf(IMU_HOME_DEG  * DEG2RAD);    /* 4 deg = 0.070 g */
  }

  if (!s->ok)       return DIR_ERROR;
  if (!s->has_home) return DIR_WAIT;

  float x = -s->du;                               /* opposite of the tilt = way back */
  float y = -s->dv;
#if IMU_SWAP_XY
  float t = x; x = y; y = t;
#endif
#if IMU_INVERT_X
  x = -x;
#endif
#if IMU_INVERT_Y
  y = -y;
#endif

  float axv = fabsf(x), ayv = fabsf(y);
  float big = (axv > ayv) ? axv : ayv;

  uint8_t arrow_shown = (prev >= DIR_N && prev <= DIR_SW) ? 1U : 0U;
  if (big < (arrow_shown ? th_home : th_arrow)) return DIR_HOME;

  /* an axis counts if it is at least half of the bigger one -> 8 directions */
  int sx = (axv * 2.0f >= big) ? ((x > 0) ? 1 : -1) : 0;
  int sy = (ayv * 2.0f >= big) ? ((y > 0) ? 1 : -1) : 0;

  if (sy > 0) return (sx > 0) ? DIR_NE : (sx < 0) ? DIR_NW : DIR_N;
  if (sy < 0) return (sx > 0) ? DIR_SE : (sx < 0) ? DIR_SW : DIR_S;
  return (sx > 0) ? DIR_E : DIR_W;
}

/* =========================================================================
 *  MATRIX: MAX7219_DrawPattern() +  patterns from IMU.c
 *  (MAX7219_Init() is called in main.c before the scheduler)
 * ========================================================================= */
void StartMatrixTask(void const * argument)
{
  (void)argument;

  pics[DIR_HOME]  = SMILEY_FACE;
  pics[DIR_N]     = ARROW_N;   pics[DIR_S]  = ARROW_S;
  pics[DIR_E]     = ARROW_E;   pics[DIR_W]  = ARROW_W;
  pics[DIR_NE]    = ARROW_NE;  pics[DIR_NW] = ARROW_NW;
  pics[DIR_SE]    = ARROW_SE;  pics[DIR_SW] = ARROW_SW;
  pics[DIR_WAIT]  = PIC_WAIT;
  pics[DIR_ERROR] = PIC_ERROR;

  /* same order as ETH command 3: 0 smiley, 1 E, 2 NE, 3 N, 4 NW, 5 W, 6 SW, 7 S, 8 SE */
  static const ArrowDir_t cmd_to_dir[9] = {
    DIR_HOME, DIR_E, DIR_NE, DIR_N, DIR_NW, DIR_W, DIR_SW, DIR_S, DIR_SE
  };

  /* self test: all 8 arrows once */
  App_Log("[MTX] self test: all arrows...\r\n");
  for (int i = 1; i <= 8; i++)
  {
    MAX7219_DrawPattern(pics[cmd_to_dir[i]]);
    vTaskDelay(pdMS_TO_TICKS(250));
  }
  App_Log("[MTX] ready\r\n");

  ImuSample_t imu;
  memset(&imu, 0, sizeof imu); // set imu
  ArrowDir_t shown = DIR_COUNT;
  uint32_t   refresh = 0, blink = 0;
  TickType_t last_wake = xTaskGetTickCount();

  for(;;)
  {
    if (++blink >= 10U)
    {
      blink = 0;
      HAL_GPIO_TogglePin(GPIOB, LED_MATRIX_PIN);
    }

    /* ETH command 3: show the requested pattern for a few seconds */
    int16_t ov = override_id; // shape from ETH
    if (ov >= 0 && ov <= 8 && (int32_t)(override_until - xTaskGetTickCount()) > 0)
    {
      ArrowDir_t d = cmd_to_dir[ov]; // current shape
      if (d != shown) // display if it is different then what is already display
      {
        MAX7219_DrawPattern(pics[d]);
        App_Log("[MTX] pattern %d from Ethernet\r\n", ov);
        shown = d;
      }
    }
    else if (xQueuePeek(imu_mailbox, &imu, 0) == pdTRUE) // we display according to imu
    {
      override_id = -1;
      ArrowDir_t dir = imu_to_dir(&imu, shown);
      if (dir != shown || ++refresh >= 20U)
      {
        MAX7219_DrawPattern(pics[dir]);
        if (dir != shown)
          App_Log("[MTX] -> %s\r\n", DIR_NAME[dir]);
        shown = dir;
        current_dir = dir;
        refresh = 0;
      }
    }

    vTaskDelayUntil(&last_wake, pdMS_TO_TICKS(MATRIX_PERIOD_MS));
  }
}

/* =========================================================================
 *  FreeRTOS hooks - used only if enabled in CubeMX
 * ========================================================================= */
void vApplicationStackOverflowHook(TaskHandle_t xTask, char *pcTaskName)
{
  (void)xTask;
  static const char msg[] = "\r\n!!! STACK OVERFLOW in task: ";
  HAL_UART_Transmit(&huart3, (uint8_t *)msg, sizeof msg - 1, HAL_MAX_DELAY);
  HAL_UART_Transmit(&huart3, (uint8_t *)pcTaskName, (uint16_t)strlen(pcTaskName), HAL_MAX_DELAY);
  taskDISABLE_INTERRUPTS();
  for(;;) { }
}

void vApplicationMallocFailedHook(void)
{
  static const char msg[] = "\r\n!!! MALLOC FAILED - increase TOTAL_HEAP_SIZE\r\n";
  HAL_UART_Transmit(&huart3, (uint8_t *)msg, sizeof msg - 1, HAL_MAX_DELAY);
  taskDISABLE_INTERRUPTS();
  for(;;) { }
}

/* USER CODE END Application */
